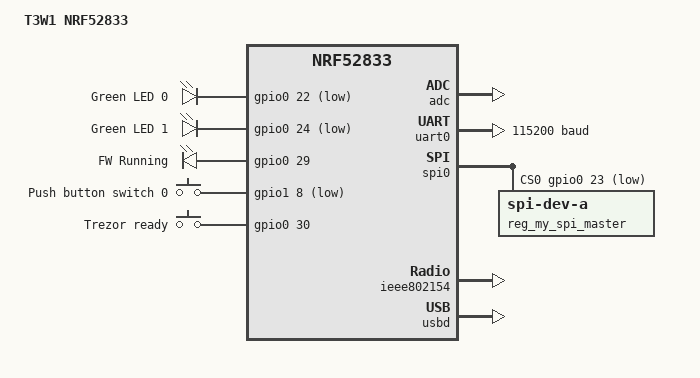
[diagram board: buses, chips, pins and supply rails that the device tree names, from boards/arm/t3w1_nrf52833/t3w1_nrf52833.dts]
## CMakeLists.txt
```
#
# Copyright (c) 2018 Nordic Semiconductor
#
# SPDX-License-Identifier: LicenseRef-Nordic-5-Clause
#
cmake_minimum_required(VERSION 3.20.0)

list(APPEND BOARD_ROOT ${CMAKE_CURRENT_SOURCE_DIR})

find_package(Zephyr REQUIRED HINTS $ENV{ZEPHYR_BASE})
project(NONE)

# NORDIC SDK APP START
target_sources(app PRIVATE
    src/main.c
    src/connection.c
    src/advertising.c
    src/events.c
    src/uart.c
    src/spi.c
    src/int_comm.c
    src/oob.c
    src/pb_comm.c
    src/trz_nus.c
    src/protob/messages.pb.c
    src/protob/protob_helpers.c
)


# NORDIC SDK APP END

zephyr_library_include_directories(.)
```

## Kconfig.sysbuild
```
#
# Copyright (c) 2023 Nordic Semiconductor
#
# SPDX-License-Identifier: LicenseRef-Nordic-5-Clause
#

source "${ZEPHYR_BASE}/share/sysbuild/Kconfig"

config NRF_DEFAULT_BLUETOOTH
	default y
```

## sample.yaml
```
sample:
  description: Bluetooth Low Energy UART service sample
  name: BLE UART service
tests:
  sample.bluetooth.peripheral_uart:
    build_only: true
    platform_allow: nrf52dk_nrf52832 nrf52833dk_nrf52833 t3w1_nrf52833 nrf52840dk_nrf52840
      nrf5340dk_nrf5340_cpuapp nrf5340dk_nrf5340_cpuapp_ns thingy53_nrf5340_cpuapp
      thingy53_nrf5340_cpuapp_ns nrf21540dk_nrf52840
    integration_platforms:
      - nrf52dk_nrf52832
      - nrf52833dk_nrf52833
      - t3w1_nrf52833
      - nrf52840dk_nrf52840
      - nrf5340dk_nrf5340_cpuapp
      - nrf5340dk_nrf5340_cpuapp_ns
      - thingy53_nrf5340_cpuapp
      - thingy53_nrf5340_cpuapp_ns
      - nrf21540dk_nrf52840
    tags: bluetooth ci_build
  sample.bluetooth.peripheral_uart.sysbuild:
    build_only: true
    sysbuild: true
    platform_allow: nrf52840dk_nrf52840 nrf5340dk_nrf5340_cpuapp
      nrf5340dk_nrf5340_cpuapp_ns
    integration_platforms:
      - nrf52840dk_nrf52840
      - nrf5340dk_nrf5340_cpuapp
      - nrf5340dk_nrf5340_cpuapp_ns
    tags: bluetooth ci_build sysbuild
  sample.bluetooth.peripheral_uart_cdc:
    build_only: true
    extra_args: OVERLAY_CONFIG=prj_cdc.conf DTC_OVERLAY_FILE="usb.overlay"
    integration_platforms:
      - nrf52840dk_nrf52840
      - nrf52833dk_nrf52833
    platform_allow: nrf52840dk_nrf52840 nrf52833dk_nrf52833
    tags: bluetooth ci_build
  sample.bluetooth.peripheral_uart_minimal:
    build_only: true
    extra_args: OVERLAY_CONFIG=prj_minimal.conf
    integration_platforms:
      - nrf52dk_nrf52810
      - nrf52840dk_nrf52811
      - nrf52833dk_nrf52820
    platform_allow: nrf52dk_nrf52810 nrf52840dk_nrf52811 nrf52833dk_nrf52820
    tags: bluetooth ci_build
  sample.bluetooth.peripheral_uart_ble_rpc:
    build_only: true
    extra_configs:
      - CONFIG_BT_RPC_STACK=y
    integration_platforms:
      - nrf5340dk_nrf5340_cpuapp
    platform_allow: nrf5340dk_nrf5340_cpuapp
    tags: bluetooth ci_build
  sample.bluetooth.peripheral_uart.security_disabled:
    build_only: true
    platform_allow: nrf52dk_nrf52832 nrf52833dk_nrf52833 nrf52840dk_nrf52840
      nrf5340dk_nrf5340_cpuapp nrf5340dk_nrf5340_cpuapp_ns thingy53_nrf5340_cpuapp
      thingy53_nrf5340_cpuapp_ns nrf21540dk_nrf52840
    integration_platforms:
      - nrf52840dk_nrf52840
    tags: bluetooth ci_build
    extra_configs:
      - CONFIG_BT_NUS_SECURITY_ENABLED=n
```

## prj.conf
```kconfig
#
# Copyright (c) 2018 Nordic Semiconductor
#
# SPDX-License-Identifier: LicenseRef-Nordic-5-Clause
#

# Enable the UART driver
CONFIG_UART_ASYNC_API=y
CONFIG_NRFX_UARTE0=y
CONFIG_SERIAL=y

CONFIG_NANOPB=y

# Enable the SPI driver
CONFIG_SPI=y
CONFIG_NRFX_SPIM0=y

CONFIG_GPIO=y



CONFIG_HEAP_MEM_POOL_SIZE=2048




CONFIG_BT=y
CONFIG_BT_PERIPHERAL=y
CONFIG_BT_DEVICE_NAME="TrezorZephyr"
CONFIG_BT_DEVICE_APPEARANCE=833
CONFIG_BT_MAX_CONN=1
CONFIG_BT_MAX_PAIRED=8
CONFIG_BT_SMP=y
# CONFIG_BT_SMP_APP_PAIRING_ACCEPT=y
CONFIG_BT_SMP_ENFORCE_MITM=y
CONFIG_BT_SMP_SC_ONLY=y
CONFIG_BT_FILTER_ACCEPT_LIST=y
CONFIG_BT_BONDING_REQUIRED=y
CONFIG_BT_PRIVACY=y
CONFIG_BT_TINYCRYPT_ECC=y
#CONFIG_BT_LL_SW_SPLIT=n
CONFIG_BT_LL_SW_SPLIT=y

#CONFIG_BT_DEBUG_SMP=y

#PHY update needed for updating PHY request
CONFIG_BT_USER_PHY_UPDATE=y

# HCI ACL buffers size
# BT_L2CAP_RX_MTU = CONFIG_BT_BUF_ACL_RX_SIZE - BT_L2CAP_HDR_SIZE
CONFIG_BT_BUF_ACL_RX_SIZE=251

# L2CAP SDU/PDU TX MTU
CONFIG_BT_L2CAP_TX_MTU=247


# Enable bonding
CONFIG_BT_SETTINGS=y
CONFIG_FLASH=y
CONFIG_FLASH_PAGE_LAYOUT=y
CONFIG_FLASH_MAP=y
CONFIG_NVS=y
CONFIG_SETTINGS=y

# Enable DK LED and Buttons library
CONFIG_DK_LIBRARY=y

# This example requires more stack
CONFIG_MAIN_STACK_SIZE=1152
CONFIG_SYSTEM_WORKQUEUE_STACK_SIZE=4096

# NFC
CONFIG_NFC_T4T_NRFXLIB=y

CONFIG_NFC_NDEF=y
CONFIG_NFC_NDEF_MSG=y
CONFIG_NFC_NDEF_RECORD=y
CONFIG_NFC_NDEF_LE_OOB_REC=y
CONFIG_NFC_NDEF_CH_MSG=y

CONFIG_NFC_NDEF_TNEP_RECORD=y
CONFIG_NFC_TNEP_TAG=y
CONFIG_NFC_NDEF_PARSER=y
CONFIG_NFC_NDEF_CH_PARSER=y
CONFIG_NFC_NDEF_LE_OOB_REC_PARSER=y
CONFIG_NFC_TNEP_CH=y

CONFIG_POLL=y

# Config logger
CONFIG_LOG=y
CONFIG_RTT_CONSOLE=y
CONFIG_UART_CONSOLE=n
CONFIG_USE_SEGGER_RTT=y
CONFIG_LOG_BACKEND_RTT=y
CONFIG_LOG_BACKEND_UART=n
CONFIG_LOG_PRINTK=y
CONFIG_LOG_DEFAULT_LEVEL=3

CONFIG_ASSERT=y

# debug
#CONFIG_THREAD_NAME=y
#CONFIG_THREAD_ANALYZER=y
#CONFIG_THREAD_ANALYZER_AUTO=y
#CONFIG_THREAD_ANALYZER_RUN_UNLOCKED=y
#CONFIG_THREAD_ANALYZER_USE_PRINTK=y
#CONFIG_CONSOLE=y
#CONFIG_USE_SEGGER_RTT=y
#CONFIG_CONSOLE=y
#CONFIG_UART_CONSOLE=y
#CONFIG_RTT_CONSOLE=y
#CONFIG_SEGGER_DEBUGMON=y
#CONFIG_LOG_MODE_DEFERRED=y
#CONFIG_SETTINGS=y
#CONFIG_FLASH_MAP=y

#Optimization
CONFIG_DEBUG_OPTIMIZATIONS=y
CONFIG_COMPILER_OPT="-ggdb3 -g3"


CONFIG_THREAD_NAME=y
CONFIG_THREAD_MONITOR=y
CONFIG_CORTEX_M_DEBUG_MONITOR_HOOK=y
CONFIG_SEGGER_DEBUGMON=y

#thread view
#CONFIG_THREAD_ANALYZER=y
#CONFIG_THREAD_ANALYZER_AUTO=y
#CONFIG_THREAD_ANALYZER_RUN_UNLOCKED=y
#CONFIG_THREAD_ANALYZER_USE_PRINTK=y
#not needed for single core
#CONFIG_SCHED_CPU_MASK=y


#CONFIG_SECURE_BOOT=y
CONFIG_BOOTLOADER_MCUBOOT=y
#CONFIG_SB_SIGNING_OPENSSL=y
#CONFIG_SB_SIGNING_KEY_FILE="/home/ondro/work/satoshilabs/repos/ncs/mcuboot_priv.pem"
#CONFIG_SB_SIGNING_KEY_FILE="/home/ondro/work/satoshilabs/repos/ncs/mcuboot_priv.pem"

#CONFIG_SB_PUBLIC_KEY_FILES="/home/ondro/work/satoshilabs/repos/ncs/mcuboot_pub.pem"
#CONFIG_MCUBOOT_SIGNATURE_KEY_FILE="/home/ondro/work/satoshilabs/repos/ncs/mcuboot_priv.pem"
#CONFIG_MCUBOOT_SIGNATURE_KEY_FILE="/home/ondro/work/satoshilabs/repos/ncs/mcuboot_priv.pem"
#CONFIG_BOOT_SIGNATURE_KEY_FILE="/home/ondro/work/satoshilabs/repos/ncs/mcuboot_priv.pem"
CONFIG_MCUBOOT_BOOTLOADER_MODE_SINGLE_APP=y

# NCS docs said you need to have this, but nope, you don't. It's PoS the whole SDK
#CONFIG_MCUMGR=y
#CONFIG_NET_BUF=y
#CONFIG_ZCBOR=y
#CONFIG_CRC=y
#CONFIG_STREAM_FLASH=y
#CONFIG_FLASH_MAP=y

# Enable most core commands.
#CONFIG_IMG_MANAGER=y
#CONFIG_MCUMGR_GRP_IMG=y
#CONFIG_MCUMGR_GRP_OS=y

# Enable the serial mcumgr transport.
#CONFIG_MCUMGR_TRANSPORT_UART=y
#CONFIG_BASE64=y
CONFIG_CONSOLE=n

CONFIG_SYSTEM_WORKQUEUE_STACK_SIZE=4096
```

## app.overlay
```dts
/*
 * Copyright (c) 2022 Nordic Semiconductor ASA
 *
 * SPDX-License-Identifier: LicenseRef-Nordic-5-Clause
 */

/ {
	chosen {
		nordic,nus-uart = &uart0;
	};
};
```

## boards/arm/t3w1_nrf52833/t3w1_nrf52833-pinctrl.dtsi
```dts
/*
 * Copyright (c) 2022 Nordic Semiconductor
 * SPDX-License-Identifier: Apache-2.0
 */

&pinctrl {
	uart0_default: uart0_default {
		group1 {
			psels = <NRF_PSEL(UART_TX, 0, 27)>,
				<NRF_PSEL(UART_RTS, 0, 8)>;
		};
		group2 {
			psels = <NRF_PSEL(UART_RX, 0, 26)>,
				<NRF_PSEL(UART_CTS, 0, 6)>;
			bias-pull-up;
		};
	};

	uart0_sleep: uart0_sleep {
		group1 {
			psels = <NRF_PSEL(UART_TX, 0, 27)>,
				<NRF_PSEL(UART_RX, 0, 26)>,
				<NRF_PSEL(UART_RTS, 0, 8)>,
				<NRF_PSEL(UART_CTS, 0, 6)>;
			low-power-enable;
		};
	};


	spi0_default: spi0_default {
		group1 {
			psels = <NRF_PSEL(SPIM_SCK, 0, 14)>,
				<NRF_PSEL(SPIM_MOSI, 0, 16)>,
				<NRF_PSEL(SPIM_MISO, 0, 15)>;
		};
	};

	spi0_sleep: spi0_sleep {
		group1 {
			psels = <NRF_PSEL(SPIM_SCK, 0, 14)>,
				<NRF_PSEL(SPIM_MOSI, 0, 16)>,
				<NRF_PSEL(SPIM_MISO, 0, 15)>;
			low-power-enable;
		};
	};


};
```

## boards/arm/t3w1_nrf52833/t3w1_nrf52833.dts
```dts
/*
 * Copyright (c) 2019 Nordic Semiconductor ASA
 *
 * SPDX-License-Identifier: Apache-2.0
 */

/dts-v1/;
#include <nordic/nrf52833_qiaa.dtsi>
#include "t3w1_nrf52833-pinctrl.dtsi"
#include <zephyr/dt-bindings/input/input-event-codes.h>

/ {
	model = "T3W1 NRF52833";
	compatible = "nordic,t3w1_nrf52833";

	chosen {
		zephyr,console = &uart0;
		zephyr,shell-uart = &uart0;
		zephyr,uart-mcumgr = &uart0;
		zephyr,bt-mon-uart = &uart0;
		zephyr,bt-c2h-uart = &uart0;
		zephyr,sram = &sram0;
		zephyr,flash = &flash0;
		zephyr,code-partition = &slot0_partition;
		zephyr,ieee802154 = &ieee802154;
	};

	leds {
		compatible = "gpio-leds";
		led0: led_0 {
			gpios = <&gpio0 22 GPIO_ACTIVE_LOW>;
			label = "Green LED 0";
		};
		led1: led_1 {
			gpios = <&gpio0 24 GPIO_ACTIVE_LOW>;
			label = "Green LED 1";
		};
		out0: out_0 {
			gpios = <&gpio0 29 GPIO_ACTIVE_HIGH>;
			label = "FW Running";
		};
	};

	buttons {
		compatible = "gpio-keys";
		button0: button_0 {
			gpios = <&gpio1 8 (GPIO_PULL_UP | GPIO_ACTIVE_LOW)>;
			label = "Push button switch 0";
			zephyr,code = <INPUT_KEY_0>;
		};
		trezor_ready: trezor_ready {
			gpios = <&gpio0 30 (GPIO_PULL_DOWN | GPIO_ACTIVE_HIGH)>;
			label = "Trezor ready";
			zephyr,code = <INPUT_KEY_1>;
		};
	};

	/* These aliases are provided for compatibility with samples */
	aliases {
		led0 = &led0;
		led1 = &led1;
		sw0 = &button0;
		bootloader-led0 = &led0;
		mcuboot-button0 = &button0;
		mcuboot-led0 = &led0;
		watchdog0 = &wdt0;
	};
};

&adc {
	status = "okay";
};

&uicr {
	gpio-as-nreset;
};

&gpiote {
	status = "okay";
};

&gpio0 {
	status = "okay";
};

&gpio1 {
	status = "okay";
};

&uart0 {
	compatible = "nordic,nrf-uarte";
	status = "okay";
	current-speed = <115200>;
	pinctrl-0 = <&uart0_default>;
	pinctrl-1 = <&uart0_sleep>;
	pinctrl-names = "default", "sleep";
};

&spi0 {
	compatible = "nordic,nrf-spim";
	status = "okay";
	pinctrl-0 = <&spi0_default>;
	pinctrl-1 = <&spi0_sleep>;
	pinctrl-names = "default", "sleep";
	cs-gpios = <&gpio0 23 GPIO_ACTIVE_LOW>;
	reg_my_spi_master: spi-dev-a@0 {
		reg = <0>;
	};
};

&ieee802154 {
	status = "okay";
};

&flash0 {

	partitions {
		compatible = "fixed-partitions";
		#address-cells = <1>;
		#size-cells = <1>;

		boot_partition: partition@0 {
			label = "mcuboot";
			reg = <0x00000000 0xC000>;
		};
		slot0_partition: partition@c000 {
			label = "image-0";
			reg = <0x0000C000 0x7A000>;
		};
		storage_partition: partition@7a000 {
			label = "storage";
			reg = <0x0007A000 0x00006000>;
		};
	};
};

zephyr_udc0: &usbd {
	compatible = "nordic,nrf-usbd";
	status = "okay";
};
```

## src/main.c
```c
/*
 * Copyright (c) 2018 Nordic Semiconductor ASA
 *
 * SPDX-License-Identifier: LicenseRef-Nordic-5-Clause
 */

/** @file
 *  @brief Nordic UART Bridge Service (NUS) sample
 */

#include <zephyr/types.h>
#include <zephyr/kernel.h>
#include <zephyr/drivers/uart.h>

#include <zephyr/device.h>
#include <zephyr/devicetree.h>
#include <soc.h>

#include <zephyr/bluetooth/bluetooth.h>
#include <zephyr/bluetooth/uuid.h>
#include <zephyr/bluetooth/gatt.h>
#include <zephyr/bluetooth/hci.h>
#include <zephyr/bluetooth/conn.h>


#include <dk_buttons_and_leds.h>

#include <zephyr/settings/settings.h>

#include <zephyr/logging/log.h>

#include "uart.h"
#include "spi.h"
#include "connection.h"
#include "int_comm.h"
#include "pb_comm.h"
#include "advertising.h"
#include "trz_nus.h"
#include "oob.h"
#include "events.h"

#define LOG_MODULE_NAME fw
LOG_MODULE_REGISTER(LOG_MODULE_NAME);

#define STACKSIZE CONFIG_BT_NUS_THREAD_STACK_SIZE
#define PRIORITY 7

#define RUN_STATUS_LED DK_LED1
#define RUN_LED_BLINK_INTERVAL 1000

#define FW_RUNNING_SIG DK_LED3


static K_SEM_DEFINE(ble_init_ok, 0, 1);
static K_SEM_DEFINE(led_init_ok, 0, 1);

#define AUTH_SC_FLAG 0x08


static void security_changed(struct bt_conn *conn, bt_security_t level,
			     enum bt_security_err err)
{
	char addr[BT_ADDR_LE_STR_LEN];

	bt_addr_le_to_str(bt_conn_get_dst(conn), addr, sizeof(addr));

	if (!err) {
		LOG_INF("Security changed: %s level %u", addr, level);
	} else {
		LOG_WRN("Security failed: %s level %u err %d", addr,
			level, err);
	}
}

BT_CONN_CB_DEFINE(conn_callbacks) = {
	.connected    = connected,
	.disconnected = disconnected,
	.security_changed = security_changed,
};

//static enum bt_security_err pairing_accept(struct bt_conn *conn,
//                                           const struct bt_conn_pairing_feat *const feat)
//{
//  if (feat->oob_data_flag && (!(feat->auth_req & AUTH_SC_FLAG))) {
//    bt_le_oob_set_legacy_flag(true);
//  }
//
//  return BT_SECURITY_ERR_SUCCESS;
//
//}


static struct bt_conn_auth_cb conn_auth_callbacks = {
//  .pairing_accept = pairing_accept,
	.passkey_display = auth_passkey_display,
	.passkey_confirm = auth_passkey_confirm,
  .oob_data_request = auth_oob_data_request,
	.cancel = auth_cancel,
};

static struct bt_conn_auth_info_cb conn_auth_info_callbacks = {
	.pairing_complete = pairing_complete,
	.pairing_failed = pairing_failed
};


static void bt_receive_cb(struct bt_conn *conn, const uint8_t *const data,
			  uint16_t len)
{
  if ((dk_get_buttons() & DK_BTN2_MSK) == 0){
    LOG_INF("Trezor not ready, rejecting data");
    send_error_response();
    return;
  }

	char addr[BT_ADDR_LE_STR_LEN] = {0};

	bt_addr_le_to_str(bt_conn_get_dst(conn), addr, ARRAY_SIZE(addr));

	LOG_INF("Received data from: %s, %d", addr, len);

  spi_send(data, len);
}

static struct bt_nus_cb nus_cb = {
	.received = bt_receive_cb,
};

void error(void)
{
	dk_set_leds_state(DK_ALL_LEDS_MSK, DK_NO_LEDS_MSK);

	while (true) {
		/* Spin for ever */
		k_sleep(K_MSEC(1000));
	}
}


void button_changed(uint32_t button_state, uint32_t has_changed)
{

}

static void configure_gpio(void)
{
	int err;

	err = dk_buttons_init(button_changed);
	if (err) {
		LOG_ERR("Cannot init buttons (err: %d)", err);
	}

	err = dk_leds_init();
	if (err) {
		LOG_ERR("Cannot init LEDs (err: %d)", err);
	}
}

int main(void)
{
	int err = 0;

  LOG_INF("Initializing");


	configure_gpio();

  err = uart_init();
  if (err) {
    error();
  }

  spi_init();

  err = bt_conn_auth_cb_register(&conn_auth_callbacks);
  if (err) {
    printk("Failed to register authorization callbacks.\n");
    return 0;
  }

  err = bt_conn_auth_info_cb_register(&conn_auth_info_callbacks);
  if (err) {
    printk("Failed to register authorization info callbacks.\n");
    return 0;
  }

	err = bt_enable(NULL);
	if (err) {
		error();
	}

	LOG_INF("Bluetooth initialized");

	k_sem_give(&ble_init_ok);

	if (IS_ENABLED(CONFIG_SETTINGS)) {
		settings_load();
	}

	err = bt_nus_init(&nus_cb);
	if (err) {
		LOG_ERR("Failed to initialize UART service (err: %d)", err);
		return 0;
	}

  bt_set_name("TrezorGAP");

  events_init();
  advertising_init();
  int_comm_start();
  pb_comm_start();
  dk_set_led(FW_RUNNING_SIG, 1);
  send_status_event();

  oob_init();

  k_sem_give(&led_init_ok);

	for (;;) {
    printk("Event occurred\n");

    events_poll();

    oob_process();
    int_comm_thread();
	}
}

void ble_write_thread(void)
{
	/* Don't go any further until BLE is initialized */
	k_sem_take(&ble_init_ok, K_FOREVER);

	for (;;) {
		/* Wait indefinitely for data to be sent over bluetooth */
		uart_data_t *buf = uart_get_data_ext();

		if (bt_nus_send(conn_get_current(), buf->data, buf->len)) {
			LOG_WRN("Failed to send data over BLE connection: %d", buf->len);
		}

		k_free(buf);
	}
}

void led_thread(void)
{
  int blink_status = 0;
  /* Don't go any further until BLE is initialized */
  k_sem_take(&led_init_ok, K_FOREVER);

  for (;;) {
		dk_set_led(RUN_STATUS_LED, (++blink_status) % 2);
		k_sleep(K_MSEC(RUN_LED_BLINK_INTERVAL));
  }
}


K_THREAD_DEFINE(ble_write_thread_id, STACKSIZE, ble_write_thread, NULL, NULL,
        NULL, PRIORITY, 0, 0);

K_THREAD_DEFINE(led_thread_id, STACKSIZE, led_thread, NULL, NULL,
        NULL, PRIORITY, 0, 0);
```

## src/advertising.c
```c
#include <zephyr/types.h>
#include <zephyr/kernel.h>

#include <zephyr/bluetooth/bluetooth.h>
#include <bluetooth/services/nus.h>

#include <zephyr/logging/log.h>

#include "int_comm.h"
#include "connection.h"
#include "oob.h"


#define LOG_MODULE_NAME fw_int_advertising
LOG_MODULE_REGISTER(LOG_MODULE_NAME);


#define DEVICE_NAME CONFIG_BT_DEVICE_NAME
#define DEVICE_NAME_LEN	(sizeof(DEVICE_NAME) - 1)

bool advertising = false;
bool advertising_wl = false;
int bond_cnt = 0;

static const struct bt_data ad[] = {
        BT_DATA_BYTES(BT_DATA_FLAGS, (BT_LE_AD_GENERAL | BT_LE_AD_NO_BREDR)),
        BT_DATA(BT_DATA_NAME_COMPLETE, DEVICE_NAME, DEVICE_NAME_LEN),
};

static const struct bt_data sd[] = {
        BT_DATA_BYTES(BT_DATA_UUID128_ALL, BT_UUID_NUS_VAL),
};


static void add_to_whitelist(const struct bt_bond_info *info, void *user_data){
  char addr[BT_ADDR_LE_STR_LEN];
  bt_addr_le_to_str(&info->addr, addr, sizeof(addr));

  int err = bt_le_filter_accept_list_add(&info->addr);
  if (err){
    LOG_WRN("whitelist add: %s FAILED!\n", addr);
  }else{
    LOG_INF("whitelist add: %s\n", addr);
  }

  bond_cnt++;
}


void advertising_setup_wl(void) {
  bt_le_filter_accept_list_clear();
  bt_foreach_bond(BT_ID_DEFAULT, add_to_whitelist, NULL);
}

void advertising_start(bool wl){

  if (advertising) {
    if (wl != advertising_wl) {
      LOG_WRN("Restarting advertising");
      bt_le_adv_stop();
    }else {
      LOG_WRN("Already advertising");
      return;
    }
  }

  int err;

  if (wl) {
    advertising_setup_wl();
    LOG_INF("Advertising with whitelist");
    err = bt_le_adv_start(
            BT_LE_ADV_PARAM(BT_LE_ADV_OPT_CONNECTABLE | BT_LE_ADV_OPT_FILTER_CONN | BT_LE_ADV_OPT_FILTER_SCAN_REQ,
                            160, 1600, NULL),
            ad, ARRAY_SIZE(ad),
            sd, ARRAY_SIZE(sd));
  }
  else {
    LOG_INF("Advertising no whitelist");
    err = bt_le_adv_start(
            BT_LE_ADV_PARAM(BT_LE_ADV_OPT_CONNECTABLE,
                            160, 1600, NULL),
            ad, ARRAY_SIZE(ad),
            sd, ARRAY_SIZE(sd));
  }
  if (err) {
    LOG_ERR("Advertising failed to start (err %d)", err);
    return;
  }
  advertising = true;
  advertising_wl = wl;


  oob_fetch_addr();

  send_status_event();
}

void advertising_stop(void){

  if (!advertising) {
    LOG_WRN("Not advertising");
    return;
  }

  int err = bt_le_adv_stop();
  if (err) {
    LOG_ERR("Advertising failed to stop (err %d)", err);
    return;
  }
  advertising = false;
  advertising_wl = false;
  send_status_event();
}

bool is_advertising(void){
  return advertising;
}

bool is_advertising_whitelist(void){
  return advertising_wl;
}


void advertising_init(void){
  LOG_INF("Advertising init");
  advertising_setup_wl();
}

void erase_bonds(void){
  int err = bt_unpair(BT_ID_DEFAULT, BT_ADDR_LE_ANY);
  if (err) {
    LOG_INF("Cannot delete bond (err: %d)\n", err);
  } else	{
    LOG_INF("Bond deleted successfully \n");
  }
}

int advertising_get_bond_count(void){
  advertising_setup_wl();
  return bond_cnt;
}
```

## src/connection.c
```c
#include <zephyr/types.h>
#include <zephyr/kernel.h>

#include <zephyr/bluetooth/bluetooth.h>
#include <zephyr/bluetooth/uuid.h>
#include <zephyr/bluetooth/gatt.h>
#include <zephyr/bluetooth/hci.h>

#include <zephyr/logging/log.h>

#include <dk_buttons_and_leds.h>

#include "connection.h"
#include "advertising.h"
#include "int_comm.h"
#include "pb_comm.h"
#include "oob.h"

#define CON_STATUS_LED DK_LED2

#define LOG_MODULE_NAME fw_int_connection
LOG_MODULE_REGISTER(LOG_MODULE_NAME);

static struct bt_conn *current_conn;
static struct bt_conn *auth_conn;

void connected(struct bt_conn *conn, uint8_t err)
{
  char addr[BT_ADDR_LE_STR_LEN];

  if (err) {
    LOG_ERR("Connection failed (err %u)", err);
    return;
  }

  bt_addr_le_to_str(bt_conn_get_dst(conn), addr, sizeof(addr));
  LOG_INF("Connected %s", addr);

  current_conn = bt_conn_ref(conn);

//  struct bt_le_conn_param params = BT_LE_CONN_PARAM_INIT(6,6,0,400);
//
//  bt_conn_le_param_update(conn, &params);

  err = bt_conn_le_phy_update(current_conn, BT_CONN_LE_PHY_PARAM_2M);
  if (err) {
    LOG_ERR("Phy update request failed: %d",  err);
  }

  dk_set_led_on(CON_STATUS_LED);

  send_status_event();
}

void disconnected(struct bt_conn *conn, uint8_t reason)
{
  char addr[BT_ADDR_LE_STR_LEN];

  bt_addr_le_to_str(bt_conn_get_dst(conn), addr, sizeof(addr));

  LOG_INF("Disconnected: %s (reason %u)", addr, reason);

  if (auth_conn) {
    bt_conn_unref(auth_conn);
    auth_conn = NULL;
  }

  if (current_conn) {
    bt_conn_unref(current_conn);
    current_conn = NULL;
    dk_set_led_off(CON_STATUS_LED);
  }

  send_status_event();
}

bool is_connected(void) {
  return current_conn != NULL;
}


void disconnect(void){
  if (current_conn) {
    bt_conn_disconnect(current_conn, BT_HCI_ERR_REMOTE_USER_TERM_CONN);
  }
}

void num_comp_reply(bool accept)
{
  if (accept) {
    bt_conn_auth_passkey_confirm(auth_conn);
    LOG_INF("Numeric Match, conn %p", (void *)auth_conn);
  } else {
    bt_conn_auth_cancel(auth_conn);
    LOG_INF("Numeric Reject, conn %p", (void *)auth_conn);
  }

  bt_conn_unref(auth_conn);
  auth_conn = NULL;
}

void passkey_to_str(uint8_t buf[6], unsigned int passkey) {
  buf[5] = (passkey % 10) + '0';
  buf[4] = ((passkey / 10) % 10) + '0';
  buf[3] = ((passkey / 100) % 10) + '0';
  buf[2] = ((passkey / 1000) % 10) + '0';
  buf[1] = ((passkey / 10000) % 10) + '0';
  buf[0] = ((passkey / 100000) % 10) + '0';
}

void auth_passkey_display(struct bt_conn *conn, unsigned int passkey)
{
  char addr[BT_ADDR_LE_STR_LEN];

  uint8_t passkey_str[6];
  passkey_to_str(passkey_str, passkey);
  bt_addr_le_to_str(bt_conn_get_dst(conn), addr, sizeof(addr));

  pb_comm_enqueue(PASSKEY_DISPLAY, passkey_str, 6);
}

void auth_passkey_confirm(struct bt_conn *conn, unsigned int passkey)
{
  char addr[BT_ADDR_LE_STR_LEN];

  auth_conn = bt_conn_ref(conn);

  bt_addr_le_to_str(bt_conn_get_dst(conn), addr, sizeof(addr));

  uint8_t passkey_str[6];
  passkey_to_str(passkey_str, passkey);
  pb_comm_enqueue(COMPARISON_REQUEST, passkey_str, 6);

  send_status_event();

}


void auth_cancel(struct bt_conn *conn)
{
  char addr[BT_ADDR_LE_STR_LEN];

  bt_addr_le_to_str(bt_conn_get_dst(conn), addr, sizeof(addr));

  LOG_INF("Pairing cancelled: %s", addr);
}



void pairing_complete(struct bt_conn *conn, bool bonded)
{
  char addr[BT_ADDR_LE_STR_LEN];

  bt_addr_le_to_str(bt_conn_get_dst(conn), addr, sizeof(addr));

  oob_signal();
  bt_le_oob_set_sc_flag(false);
  bt_le_oob_set_legacy_flag(false);

  if (bonded) {
    advertising_setup_wl();
  }

  LOG_INF("Pairing completed: %s, bonded: %d", addr, bonded);
}


void pairing_failed(struct bt_conn *conn, enum bt_security_err reason)
{
  char addr[BT_ADDR_LE_STR_LEN];

  bt_addr_le_to_str(bt_conn_get_dst(conn), addr, sizeof(addr));

  oob_signal();
  bt_le_oob_set_sc_flag(false);
  bt_le_oob_set_legacy_flag(false);

  LOG_INF("Pairing failed conn: %s, reason %d", addr, reason);
}


struct bt_conn * conn_get_current(void){
  return current_conn;
}
```

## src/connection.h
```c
#include <stdint.h>
#include <stdbool.h>

#include <zephyr/types.h>
#include <zephyr/kernel.h>

#include <zephyr/bluetooth/bluetooth.h>
#include <zephyr/bluetooth/uuid.h>
#include <zephyr/bluetooth/gatt.h>
#include <zephyr/bluetooth/hci.h>

void connected(struct bt_conn *conn, uint8_t err);

void disconnect(void);

void disconnected(struct bt_conn *conn, uint8_t reason);

bool is_connected(void);

void num_comp_reply(bool accept);
void auth_passkey_display(struct bt_conn *conn, unsigned int passkey);
void auth_passkey_confirm(struct bt_conn *conn, unsigned int passkey);
void auth_cancel(struct bt_conn *conn);
void pairing_complete(struct bt_conn *conn, bool bonded);
void pairing_failed(struct bt_conn *conn, enum bt_security_err reason);

void num_comp_reply(bool accept);
struct bt_conn * conn_get_current(void);
```

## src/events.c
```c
#include <zephyr/kernel.h>

#define K_POOL_EVENTS_CNT (4)


static struct k_poll_event events[K_POOL_EVENTS_CNT];

void events_poll(void){
  k_poll(events, ARRAY_SIZE(events), K_FOREVER);
}

void events_init(void){

}

struct k_poll_event * events_get(int idx){
  return &events[idx];
}
```

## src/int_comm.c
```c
#include <stdint.h>
#include <stdbool.h>

#include <zephyr/types.h>
#include <zephyr/kernel.h>

#include <zephyr/logging/log.h>

#include "uart.h"
#include "int_comm_defs.h"
#include "connection.h"
#include "advertising.h"
#include "pb_comm.h"
#include "events.h"

#define LOG_MODULE_NAME fw_int_comm
LOG_MODULE_REGISTER(LOG_MODULE_NAME);

static K_SEM_DEFINE(int_comm_ok, 0, 1);



void send_packet(uint8_t message_type, const uint8_t *tx_data, uint16_t len) {
  uart_data_t *tx = k_malloc(sizeof(*tx));

  if (!tx) {
    LOG_WRN("Not able to allocate UART send data buffer");
    return;
  }

  tx->len = len + OVERHEAD_SIZE;

  tx->data[0] = message_type;
  tx->data[1] = (tx->len >> 8) & 0xFF;
  tx->data[2] = tx->len & 0xFF;
  memcpy(&tx->data[3], tx_data, len);
  tx->data[tx->len-1] = EOM;

  uart_send(tx);

}

void send_status_event(void) {
//  ble_version_t version = {0};
//
//  sd_ble_version_get(&version);

  event_status_msg_t msg = {0};
  msg.msg_id = INTERNAL_EVENT_STATUS;
  msg.connected = is_connected();
  msg.advertising = is_advertising();
  msg.advertising_whitelist = is_advertising_whitelist();
  msg.peer_count = advertising_get_bond_count();
  msg.sd_version_number = 0;
  msg.sd_company_id = 0;
  msg.sd_subversion_number = 0;
  msg.app_version = 0;
  msg.bld_version = 0;

  send_packet(INTERNAL_EVENT, (uint8_t *)&msg, sizeof(msg));
}


void send_success_event(void) {
  uint8_t tx_data[] = {
          INTERNAL_EVENT_SUCCESS,
  };
  send_packet(INTERNAL_EVENT, tx_data, sizeof(tx_data));
}

uint16_t get_message_type(const uint8_t *rx_data) {
  return (rx_data[3] << 8) | rx_data[4];
}


void process_command(uint8_t *data, uint16_t len) {
  uint8_t cmd = data[0];
  switch (cmd) {
    case INTERNAL_CMD_SEND_STATE:
      send_status_event();
      break;
    case INTERNAL_CMD_ADVERTISING_ON:
      advertising_start(data[1] != 0);
      break;
    case INTERNAL_CMD_ADVERTISING_OFF:
      advertising_stop();
      break;
    case INTERNAL_CMD_ERASE_BONDS:
      erase_bonds();
      send_success_event();
      break;
    case INTERNAL_CMD_DISCONNECT:
      disconnect();
      send_success_event();
    case INTERNAL_CMD_ACK:
      pb_msg_ack();
      break;
    default:
      break;
  }
}


void int_comm_start(void)
{
  k_sem_give(&int_comm_ok);
}


void int_comm_thread(void)
{
  /* Don't go any further until BLE is initialized */
//  k_sem_take(&int_comm_ok, K_FOREVER);

//  for (;;) {

    if (events_get(INT_COMM_EVENT_NUM)->state == K_POLL_STATE_SIGNALED) {

      uart_data_t *buf = uart_get_data_int();
      process_command(buf->data, buf->len);
      k_free(buf);

      k_poll_signal_reset(events_get(INT_COMM_EVENT_NUM)->signal);
      events_get(INT_COMM_EVENT_NUM)->state = K_POLL_STATE_NOT_READY;
    }


//  }
}

//K_THREAD_DEFINE(int_comm_thread_id, CONFIG_BT_NUS_THREAD_STACK_SIZE, int_comm_thread, NULL, NULL,
//        NULL, 7, 0, 0);
```

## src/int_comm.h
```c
#ifndef INT_COMM__
#define INT_COMM__

#include <stdint.h>

void process_command(uint8_t *data, uint16_t len);

void send_status_event(void);

void int_comm_start(void);

void int_comm_thread(void);

void send_packet(uint8_t message_type, const uint8_t *tx_data, uint16_t len);

void pb_msg_ack(void);

#endif
```

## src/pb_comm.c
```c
#include <zephyr/types.h>
#include <zephyr/kernel.h>

#include <dk_buttons_and_leds.h>

#include "protob/protob_helpers.h"
#include "protob/messages.pb.h"

#include "int_comm.h"
#include "int_comm_defs.h"
#include "uart.h"
#include "pb_comm.h"
#include "connection.h"



typedef struct {
    void *fifo_reserved;
    uint8_t cmd;
    uint8_t data[PB_BUF_SIZE];
    uint16_t len;
}pb_comm_data_t;


#define PASSKEY_LEN 6

static K_SEM_DEFINE(pb_comm_ok, 0, 1);
static K_SEM_DEFINE(pb_wait_for_ack, 0, 1);


static K_FIFO_DEFINE(fifo_pb_tx_in);  // data to send to trezor
static K_FIFO_DEFINE(fifo_pb_tx_out); // data to send to host


void prepare_response_wait() {
  k_sem_reset(&pb_wait_for_ack);
  uart_data_pb_flush();
}



bool write_resp(pb_ostream_t *stream, const pb_byte_t *buf, size_t count) {
  write_state *state = (write_state *)(stream->state);

  size_t written = 0;
  // while we have data left
  while (written < count) {
    size_t remaining = count - written;
    // if all remaining data fit into our packet
    if (state->packet_pos + remaining <= USB_PACKET_SIZE) {
      // append data from buf to state->buf
      memcpy(state->buf + state->packet_pos, buf + written, remaining);
      // advance position
      state->packet_pos += remaining;
      // and return
      return true;
    } else {
      // append data that fits
      memcpy(state->buf + state->packet_pos, buf + written,
             USB_PACKET_SIZE - state->packet_pos);
      written += USB_PACKET_SIZE - state->packet_pos;

      // send packet
      uart_data_t * buf = k_malloc(sizeof(uart_data_t));
      buf->len = USB_DATA_SIZE;
      memcpy(buf->data, state->buf, USB_DATA_SIZE);
      uart_send_ext(buf);

      // prepare new packet
      state->packet_index++;
      memset(state->buf, 0, USB_PACKET_SIZE);
      state->buf[0] = '?';
      state->packet_pos = MSG_HEADER2_LEN;
    }
  }

  return true;
};

void write_resp_flush(write_state *state) {
  // if packet is not filled up completely
  if (state->packet_pos < USB_PACKET_SIZE) {
    // pad it with zeroes
    memset(state->buf + state->packet_pos, 0,
           USB_PACKET_SIZE - state->packet_pos);
  }
  // send packet
  uart_data_t * buf = k_malloc(sizeof(uart_data_t));
  buf->len = USB_DATA_SIZE;
  memcpy(buf->data, state->buf, USB_DATA_SIZE);
  uart_send_ext(buf);
}

bool write(pb_ostream_t *stream, const pb_byte_t *buf, size_t count) {
  write_state *state = (write_state *)(stream->state);

  size_t written = 0;
  // while we have data left
  while (written < count) {
    size_t remaining = count - written;
    // if all remaining data fit into our packet
    if (state->packet_pos + remaining <= USB_PACKET_SIZE) {
      // append data from buf to state->buf
      memcpy(state->buf + state->packet_pos, buf + written, remaining);
      // advance position
      state->packet_pos += remaining;
      // and return
      return true;
    } else {
      // append data that fits
      memcpy(state->buf + state->packet_pos, buf + written,
             USB_PACKET_SIZE - state->packet_pos);
      written += USB_PACKET_SIZE - state->packet_pos;

      // send packet
      send_packet(state->iface_num, state->buf, USB_PACKET_SIZE);

      // prepare new packet
      state->packet_index++;
      memset(state->buf, 0, USB_PACKET_SIZE);
      state->buf[0] = '?';
      state->packet_pos = MSG_HEADER2_LEN;
    }
  }

  return true;
};

void write_flush(write_state *state) {
  // if packet is not filled up completely
  if (state->packet_pos < USB_PACKET_SIZE) {
    // pad it with zeroes
    memset(state->buf + state->packet_pos, 0,
           USB_PACKET_SIZE - state->packet_pos);
  }
  // send packet
  send_packet(state->iface_num, state->buf, USB_PACKET_SIZE);
}

/* we don't use secbool/sectrue/secfalse here as it is a nanopb api */
static bool read(pb_istream_t *stream, uint8_t *buf, size_t count) {
  read_state *state = (read_state *)(stream->state);

  size_t read = 0;
  // while we have data left
  while (read < count) {
    size_t remaining = count - read;
    // if all remaining data fit into our packet
    if (state->packet_pos + remaining <= state->packet_size) {
      // append data from buf to state->buf
      memcpy(buf + read, state->buf + state->packet_pos, remaining);
      // advance position
      state->packet_pos += remaining;
      // and return
      return true;
    } else {
      // append data that fits
      memcpy(buf + read, state->buf + state->packet_pos,
             state->packet_size - state->packet_pos);
      read += state->packet_size - state->packet_pos;

      // read next packet
      uart_data_t * data = uart_get_data_pb();
      if (data == NULL) {
        return false;
      }
      memcpy(state->buf, data->data, USB_PACKET_SIZE > data->len ? data->len : USB_PACKET_SIZE);
      k_free(data);

      // prepare next packet
      state->packet_index++;
      state->packet_pos = MSG_HEADER2_LEN;
    }
  }

  return true;
}

static void read_flush(read_state *state) { (void)state; }

#define MSG_SEND_NRF(msg) (MSG_SEND(msg, write, write_flush))
#define MSG_SEND_NRF_RESPONSE(msg) (MSG_SEND(msg, write_resp, write_resp_flush))



secbool process_auth_key(uint8_t *data, uint32_t len, void *msg) {
  recv_protob_msg(INTERNAL_MESSAGE, len, data, AuthKey_fields, msg, read,
                  read_flush, USB_PACKET_SIZE);
  return sectrue;
}

secbool process_success(uint8_t *data, uint32_t len, void *msg) {
  recv_protob_msg(INTERNAL_MESSAGE, len, data, Success_fields, msg, read,
                  read_flush, USB_PACKET_SIZE);
  return sectrue;
}

void process_unexpected(uint8_t *data, uint32_t len) {}



secbool await_response(uint16_t expected,
                       secbool (*process)(uint8_t *data, uint32_t len,
                                          void *msg),
                       void *msg_recv) {

  if (k_sem_take(&pb_wait_for_ack, K_MSEC(100)) != 0) {
    return secfalse;
  }

  if ((dk_get_buttons() & DK_BTN2_MSK) == 0) {
    return secfalse;
  }

  uint16_t id = 0;
  uint32_t msg_size = 0;

  uart_data_t * data = uart_get_data_pb();
  while (data == NULL) {

    if ((dk_get_buttons() & DK_BTN2_MSK) == 0) {
      return secfalse;
    }

    data = uart_get_data_pb();
  }

  msg_parse_header(data->data, &id, &msg_size);

  if (id == expected) {
    if (process != NULL) {
      return process(data->data, msg_size, msg_recv);
    }
    return sectrue;
  } else {
    process_unexpected(data->data, msg_size);
  }
  return secfalse;
}



static bool read_authkey(pb_istream_t *stream, const pb_field_t *field,
                         void **arg) {
  uint8_t *key_buffer = (uint8_t *)(*arg);

  if (stream->bytes_left > PASSKEY_LEN) {
    return false;
  }

  memset(key_buffer, 0, PASSKEY_LEN);

  while (stream->bytes_left) {
    // read data
    if (!pb_read(stream, (pb_byte_t *)(key_buffer),
                 (stream->bytes_left > PASSKEY_LEN)
                 ? PASSKEY_LEN
                 : stream->bytes_left)) {
      return false;
    }
  }

  return true;
}

static bool write_authkey(pb_ostream_t *stream, const pb_field_t *field,
                          void *const *arg) {
  uint8_t *key = (uint8_t *)(*arg);
  if (!pb_encode_tag_for_field(stream, field)) return false;

  return pb_encode_string(stream, (uint8_t *)key, PASSKEY_LEN);
}

bool send_comparison_request(uint8_t *p_key, int8_t p_key_len) {
  prepare_response_wait();
  uint8_t iface_num = INTERNAL_MESSAGE;
  MSG_SEND_INIT(ComparisonRequest);
  MSG_SEND_CALLBACK(key, write_authkey, p_key);
  MSG_SEND_NRF(ComparisonRequest);

  MSG_RECV_INIT(Success);
  secbool result = await_response(MessageType_MessageType_Success,
                                  process_success, &msg_recv);

  if (result != sectrue) {
    return false;
  }

  return true;
}

bool send_auth_key_request(uint8_t *p_key, uint8_t p_key_len) {
  prepare_response_wait();
  uint8_t iface_num = INTERNAL_MESSAGE;
  MSG_SEND_INIT(PairingRequest);
  MSG_SEND_NRF(PairingRequest);

  uint8_t buffer[PASSKEY_LEN];
  MSG_RECV_INIT(AuthKey);
  MSG_RECV_CALLBACK(key, read_authkey, buffer);
  secbool result = await_response(MessageType_MessageType_AuthKey,
                                  process_auth_key, &msg_recv);

  if (result != sectrue) {
    return false;
  }

  memcpy(p_key, buffer,
         PASSKEY_LEN > p_key_len ? p_key_len : PASSKEY_LEN);

  return true;
}

bool send_repair_request(void) {
  prepare_response_wait();
  uint8_t iface_num = INTERNAL_MESSAGE;
  MSG_SEND_INIT(RepairRequest);
  MSG_SEND_NRF(RepairRequest);

  MSG_RECV_INIT(Success);

  secbool result = await_response(MessageType_MessageType_Success,
                                  process_success, &msg_recv);

  return result == sectrue;
}


void send_error_response(void) {
  // communication with trezor is disabled
  uint8_t iface_num = 0;

  MSG_SEND_INIT(Failure);
  MSG_SEND_ASSIGN_VALUE(code, FailureType_Failure_ProcessError);

  msg_send.has_message = true;
  memset(msg_send.message, 0, sizeof(msg_send.message));
  const char msg[] = "Device Locked or Busy";
  strncpy(msg_send.message, msg, sizeof(msg_send.message) - 1);
  MSG_SEND_NRF_RESPONSE(Failure);

}



void pb_comm_start(void)
{
  k_sem_give(&pb_comm_ok);
}

void pb_comm_enqueue(uint8_t cmd, uint8_t * data, uint16_t len)
{
  pb_comm_data_t * buf = k_malloc(sizeof(pb_comm_data_t));
  buf->cmd = cmd;
  memcpy(buf->data, data, len);
  buf->len = len;
  k_fifo_put(&fifo_pb_tx_in, buf);
}


void pb_comm_thread(void)
{
  /* Don't go any further until BLE is initialized */
  k_sem_take(&pb_comm_ok, K_FOREVER);

  for (;;) {
    /* Wait indefinitely for data to process */
    pb_comm_data_t * buf = k_fifo_get(&fifo_pb_tx_in, K_FOREVER);

    switch(buf->cmd) {
      case COMPARISON_REQUEST:
        if (send_comparison_request(buf->data, buf->len)) {
          num_comp_reply(true);
        } else {
          num_comp_reply(false);
        }
        break;
    }

    k_free(buf);
  }
}

void pb_msg_ack(void) {
  k_sem_give(&pb_wait_for_ack);
}


K_THREAD_DEFINE(p_comm_thread_id, CONFIG_BT_NUS_THREAD_STACK_SIZE, pb_comm_thread, NULL, NULL,
        NULL, 7, 0, 0);
```

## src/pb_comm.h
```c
#define PB_BUF_SIZE 64

typedef enum {
    COMPARISON_REQUEST = 0,
    AUTH_KEY_REQUEST = 1,
    REPAIR_REQUEST = 2,
    PASSKEY_DISPLAY = 3,
}pb_comm_cmd_t;

void pb_comm_start(void);

void pb_comm_enqueue(pb_comm_cmd_t cmd, uint8_t *data, uint16_t len);

void send_error_response(void);
```

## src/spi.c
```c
#include <stdint.h>
#include <stdbool.h>

#include <zephyr/types.h>

#include <zephyr/kernel.h>

#include <zephyr/logging/log.h>
#include <zephyr/drivers/spi.h>

#include <zephyr/device.h>
#include <zephyr/devicetree.h>

#include "spi.h"

#define MY_SPI_MASTER DT_NODELABEL(spi0)

static K_SEM_DEFINE(spi_comm_ok, 0, 1);
static K_FIFO_DEFINE(fifo_spi_tx_data);

typedef struct {
    void *fifo_reserved;
    uint8_t data[244];
    uint16_t len;
}spi_data_t;


const struct device *spi_dev;
static struct k_poll_signal spi_done_sig = K_POLL_SIGNAL_INITIALIZER(spi_done_sig);

struct spi_cs_control spim_cs = {
        .gpio = SPI_CS_GPIOS_DT_SPEC_GET(DT_NODELABEL(reg_my_spi_master)),
        .delay = 0,
};

static const struct spi_config spi_cfg = {
        .operation = SPI_WORD_SET(8) | SPI_TRANSFER_MSB,
        .frequency = 8000000,
        .slave = 0,
        .cs = {
                .gpio = SPI_CS_GPIOS_DT_SPEC_GET(DT_NODELABEL(reg_my_spi_master)),
                .delay = 0,
        },
};

void spi_init(void)
{
  spi_dev = DEVICE_DT_GET(MY_SPI_MASTER);
  if(!device_is_ready(spi_dev)) {
    printk("SPI master device not ready!\n");
  }
  if(!device_is_ready(spim_cs.gpio.port)){
    printk("SPI master chip select device not ready!\n");
  }

  k_sem_give(&spi_comm_ok);
}



void spi_send(const uint8_t * data, uint32_t len)
{
  if (len != 244) {
    // unexpected length
    return;
  }

  spi_data_t * tx = k_malloc(sizeof(*tx));

  if (!tx) {
    printk("Not able to allocate SPI send data buffer\n");
    return;
  }

  tx->len = len;
  memcpy(tx->data, data, len);

  k_fifo_put(&fifo_spi_tx_data, tx);
}

void spi_thread(void)
{
  /* Don't go any further until BLE is initialized */
  k_sem_take(&spi_comm_ok, K_FOREVER);

  for (;;) {
    /* Wait indefinitely for data to process */
    spi_data_t *buf = k_fifo_get(&fifo_spi_tx_data, K_FOREVER);

    const struct spi_buf tx_buf = {
            .buf = buf->data,
            .len = buf->len,
    };

    const struct spi_buf_set tx = {
            .buffers = &tx_buf,
            .count = 1
    };

    spi_transceive(spi_dev, &spi_cfg, &tx,NULL);

    k_free(buf);
  }
}

K_THREAD_DEFINE(spi_thread_id, CONFIG_BT_NUS_THREAD_STACK_SIZE, spi_thread, NULL, NULL,
        NULL, 7, 0, 0);
```

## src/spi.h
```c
#include <stdint.h>

void spi_init(void);
void spi_send(const uint8_t * data, uint32_t len);
```

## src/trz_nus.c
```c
/*
 * Copyright (c) 2018 Nordic Semiconductor ASA
 *
 * SPDX-License-Identifier: LicenseRef-Nordic-5-Clause
 */

#include <zephyr/bluetooth/conn.h>
#include <zephyr/bluetooth/uuid.h>
#include <zephyr/bluetooth/gatt.h>

#include <zephyr/logging/log.h>

#include "trz_nus.h"

LOG_MODULE_REGISTER(trznus);

static struct bt_nus_cb nus_cb;


static void nus_ccc_cfg_changed(const struct bt_gatt_attr *attr,
                                uint16_t value)
{
  if (nus_cb.send_enabled) {
    LOG_DBG("Notification has been turned %s",
            value == BT_GATT_CCC_NOTIFY ? "on" : "off");
    nus_cb.send_enabled(value == BT_GATT_CCC_NOTIFY ?
                        BT_NUS_SEND_STATUS_ENABLED : BT_NUS_SEND_STATUS_DISABLED);
  }
}


static ssize_t on_receive(struct bt_conn *conn,
                          const struct bt_gatt_attr *attr,
                          const void *buf,
                          uint16_t len,
                          uint16_t offset,
                          uint8_t flags)
{
  LOG_DBG("Received data, handle %d, conn %p",
          attr->handle, (void *)conn);

  if (nus_cb.received) {
    nus_cb.received(conn, buf, len);
  }
  return len;
}

static void on_sent(struct bt_conn *conn, void *user_data)
{
  ARG_UNUSED(user_data);

  LOG_DBG("Data send, conn %p", (void *)conn);

  if (nus_cb.sent) {
    nus_cb.sent(conn);
  }
}

/* UART Service Declaration */
BT_GATT_SERVICE_DEFINE(nus_svc,
        BT_GATT_PRIMARY_SERVICE(BT_UUID_NUS_SERVICE),
        BT_GATT_CHARACTERISTIC(BT_UUID_NUS_TX, BT_GATT_CHRC_NOTIFY, BT_GATT_PERM_READ_ENCRYPT,  NULL, NULL, NULL),
        BT_GATT_CCC(nus_ccc_cfg_changed, BT_GATT_PERM_READ_ENCRYPT | BT_GATT_PERM_WRITE_ENCRYPT),
        BT_GATT_CHARACTERISTIC(BT_UUID_NUS_RX, BT_GATT_CHRC_WRITE | BT_GATT_CHRC_WRITE_WITHOUT_RESP, BT_GATT_PERM_READ_ENCRYPT | BT_GATT_PERM_WRITE_ENCRYPT, NULL, on_receive, NULL),
);

int bt_nus_init(struct bt_nus_cb *callbacks)
{
  if (callbacks) {
    nus_cb.received = callbacks->received;
    nus_cb.sent = callbacks->sent;
  }

  return 0;
}

int bt_nus_send(struct bt_conn *conn, const uint8_t *data, uint16_t len)
{
  struct bt_gatt_notify_params params = {0};
  const struct bt_gatt_attr *attr = &nus_svc.attrs[2];

  params.attr = attr;
  params.data = data;
  params.len = len;
  params.func = on_sent;

  if (conn && bt_gatt_is_subscribed(conn, attr, BT_GATT_CCC_NOTIFY)) {
    return bt_gatt_notify_cb(conn, &params);
  } else {
    return -EINVAL;
  }
}
```

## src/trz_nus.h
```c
/*
 * Copyright (c) 2018 Nordic Semiconductor ASA
 *
 * SPDX-License-Identifier: LicenseRef-Nordic-5-Clause
 */

#ifndef BT_NUS_H_
#define BT_NUS_H_

/**
 * @file
 * @defgroup bt_nus Nordic UART (NUS) GATT Service
 * @{
 * @brief Nordic UART (NUS) GATT Service API.
 */

#include <zephyr/types.h>
#include <zephyr/bluetooth/conn.h>
#include <zephyr/bluetooth/uuid.h>
#include <zephyr/bluetooth/gatt.h>

#ifdef __cplusplus
extern "C" {
#endif

/** @brief UUID of the NUS Service. **/
#define BT_UUID_NUS_VAL \
	BT_UUID_128_ENCODE(0x6e400001, 0xb5a3, 0xf393, 0xe0a9, 0xe50e24dcca9e)

/** @brief UUID of the TX Characteristic. **/
#define BT_UUID_NUS_TX_VAL \
	BT_UUID_128_ENCODE(0x6e400003, 0xb5a3, 0xf393, 0xe0a9, 0xe50e24dcca9e)

/** @brief UUID of the RX Characteristic. **/
#define BT_UUID_NUS_RX_VAL \
	BT_UUID_128_ENCODE(0x6e400002, 0xb5a3, 0xf393, 0xe0a9, 0xe50e24dcca9e)

#define BT_UUID_NUS_SERVICE   BT_UUID_DECLARE_128(BT_UUID_NUS_VAL)
#define BT_UUID_NUS_RX        BT_UUID_DECLARE_128(BT_UUID_NUS_RX_VAL)
#define BT_UUID_NUS_TX        BT_UUID_DECLARE_128(BT_UUID_NUS_TX_VAL)

/** @brief NUS send status. */
enum bt_nus_send_status {
    /** Send notification enabled. */
    BT_NUS_SEND_STATUS_ENABLED,
    /** Send notification disabled. */
    BT_NUS_SEND_STATUS_DISABLED,
};

/** @brief Pointers to the callback functions for service events. */
struct bt_nus_cb {
    /** @brief Data received callback.
     *
     * The data has been received as a write request on the NUS RX
     * Characteristic.
     *
     * @param[in] conn  Pointer to connection object that has received data.
     * @param[in] data  Received data.
     * @param[in] len   Length of received data.
     */
    void (*received)(struct bt_conn *conn,
                     const uint8_t *const data, uint16_t len);

    /** @brief Data sent callback.
     *
     * The data has been sent as a notification and written on the NUS TX
     * Characteristic.
     *
     * @param[in] conn Pointer to connection object, or NULL if sent to all
     *                 connected peers.
     */
    void (*sent)(struct bt_conn *conn);

    /** @brief Send state callback.
     *
     * Indicate the
     * CCCD descriptor status of the NUS TX characteristic.
     *
     * @param[in] status Send notification status.
     */
    void (*send_enabled)(enum bt_nus_send_status status);

};

/**@brief Initialize the service.
 *
 * @details This function registers a GATT service with two characteristics,
 *          TX and RX. A remote device that is connected to this service
 *          can send data to the RX Characteristic. When the remote enables
 *          notifications, it is notified when data is sent to the TX
 *          Characteristic.
 *
 * @param[in] callbacks  Struct with function pointers to callbacks for service
 *                       events. If no callbacks are needed, this parameter can
 *                       be NULL.
 *
 * @retval 0 If initialization is successful.
 *           Otherwise, a negative value is returned.
 */
int bt_nus_init(struct bt_nus_cb *callbacks);

/**@brief Send data.
 *
 * @details This function sends data to a connected peer, or all connected
 *          peers.
 *
 * @param[in] conn Pointer to connection object, or NULL to send to all
 *                 connected peers.
 * @param[in] data Pointer to a data buffer.
 * @param[in] len  Length of the data in the buffer.
 *
 * @retval 0 If the data is sent.
 *           Otherwise, a negative value is returned.
 */
int bt_nus_send(struct bt_conn *conn, const uint8_t *data, uint16_t len);

/**@brief Get maximum data length that can be used for @ref bt_nus_send.
 *
 * @param[in] conn Pointer to connection Object.
 *
 * @return Maximum data length.
 */
static inline uint32_t bt_nus_get_mtu(struct bt_conn *conn)
{
  /* According to 3.4.7.1 Handle Value Notification off the ATT protocol.
   * Maximum supported notification is ATT_MTU - 3 */
  return bt_gatt_get_mtu(conn) - 3;
}

#ifdef __cplusplus
}
#endif

/**
 *@}
 */

#endif /* BT_NUS_H_ */
```
